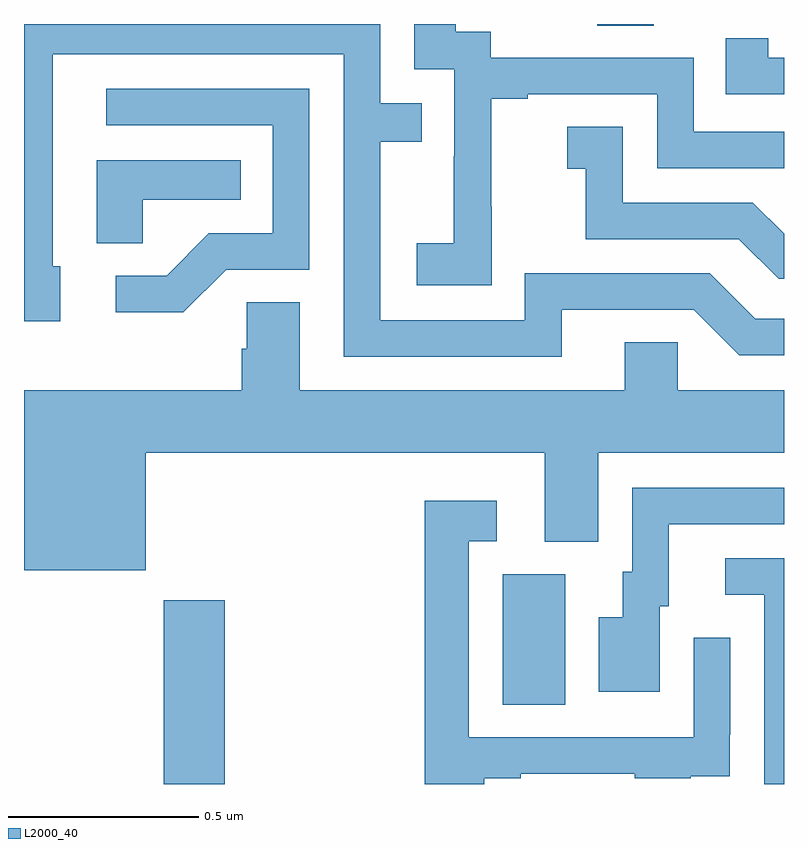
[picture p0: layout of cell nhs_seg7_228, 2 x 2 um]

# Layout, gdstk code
import gdstk
lib = gdstk.Library(unit=1e-6, precision=1e-09)
def R(c, l, rs):  # rectangles x0, y0, x1, y1
    for r in rs: c.add(gdstk.rectangle(r[:2], r[2:], *l))
def P(c, l, *ps):  # polygons
    for p in ps: c.add(gdstk.Polygon(p, *l))
L2000_40 = (2000, 40)

nhs_seg7_228 = lib.new_cell('nhs_seg7_228')
R(nhs_seg7_228, L2000_40, [(113.368,1077,113.528,1077.484), (114.26,1077.208,114.424,1077.552), (114.509,1078.996,114.657,1079)])
P(nhs_seg7_228, L2000_40, [(114.231,1078.519),(114.23,1078.519),(114.23,1078.803),(114.325,1078.803),(114.325,1078.815),(114.666,1078.815),(114.666,1078.62),(115,1078.62),(115,1078.716),(114.762,1078.716),(114.762,1078.911),(114.228,1078.911),(114.228,1078.98),(114.136,1078.98),(114.136,1079),(114.027,1079),(114.027,1078.881),(114.132,1078.881),(114.132,1078.652),(114.131,1078.652),(114.131,1078.423),(114.033,1078.423),(114.033,1078.313),(114.231,1078.313)],
  [(114.415,1078.248),(114.762,1078.248),(114.882,1078.128),(115,1078.128),(115,1078.224),(114.924,1078.224),(114.804,1078.344),(114.318,1078.344),(114.318,1078.221),(113.937,1078.221),(113.937,1078.69),(114.047,1078.69),(114.047,1078.791),(113.937,1078.791),(113.937,1079),(113,1079),(113,1078.218),(113.095,1078.218),(113.095,1078.362),(113.076,1078.362),(113.076,1078.92),(113.841,1078.92),(113.841,1078.125),(114.415,1078.125)],
  [(115,1078.911),(114.958,1078.911),(114.958,1078.963),(114.847,1078.963),(114.847,1078.815),(115,1078.815)],
  [(113.532,1078.353),(113.751,1078.353),(113.751,1078.83),(113.217,1078.83),(113.217,1078.734),(113.655,1078.734),(113.655,1078.449),(113.486,1078.449),(113.375,1078.338),(113.241,1078.338),(113.241,1078.241),(113.419,1078.241)],
  [(115,1078.448),(114.918,1078.53),(114.576,1078.53),(114.576,1078.729),(114.429,1078.729),(114.429,1078.619),(114.478,1078.619),(114.478,1078.434),(114.881,1078.434),(114.986,1078.329),(115,1078.329)],
  [(113.313,1078.538),(113.57,1078.538),(113.57,1078.642),(113.192,1078.642),(113.192,1078.423),(113.313,1078.423)],
  [(113.32,1077.872),(114.371,1077.872),(114.371,1077.637),(114.511,1077.637),(114.511,1077.872),(115,1077.872),(115,1078.036),(114.72,1078.036),(114.72,1078.163),(114.581,1078.163),(114.581,1078.036),(113.725,1078.036),(113.725,1078.268),(113.586,1078.268),(113.586,1078.145),(113.573,1078.145),(113.573,1078.036),(113,1078.036),(113,1077.563),(113.32,1077.563)],
  [(114.673,1077.468),(114.697,1077.468),(114.697,1077.684),(115,1077.684),(115,1077.78),(114.6,1077.78),(114.6,1077.558),(114.575,1077.558),(114.575,1077.439),(114.512,1077.439),(114.512,1077.243),(114.673,1077.243)],
  [(114.211,1077.015),(114.307,1077.015),(114.307,1077.027),(114.607,1077.027),(114.607,1077.015),(114.755,1077.015),(114.755,1077.021),(114.857,1077.021),(114.857,1077.13),(114.858,1077.13),(114.858,1077.385),(114.762,1077.385),(114.762,1077.123),(114.171,1077.123),(114.171,1077.639),(114.244,1077.639),(114.244,1077.745),(114.055,1077.745),(114.055,1077),(114.211,1077)],
  [(115,1077.594),(114.846,1077.594),(114.846,1077.498),(114.948,1077.498),(114.948,1077),(115,1077)])

lib.write_gds('nhs_seg7_228.gds')
